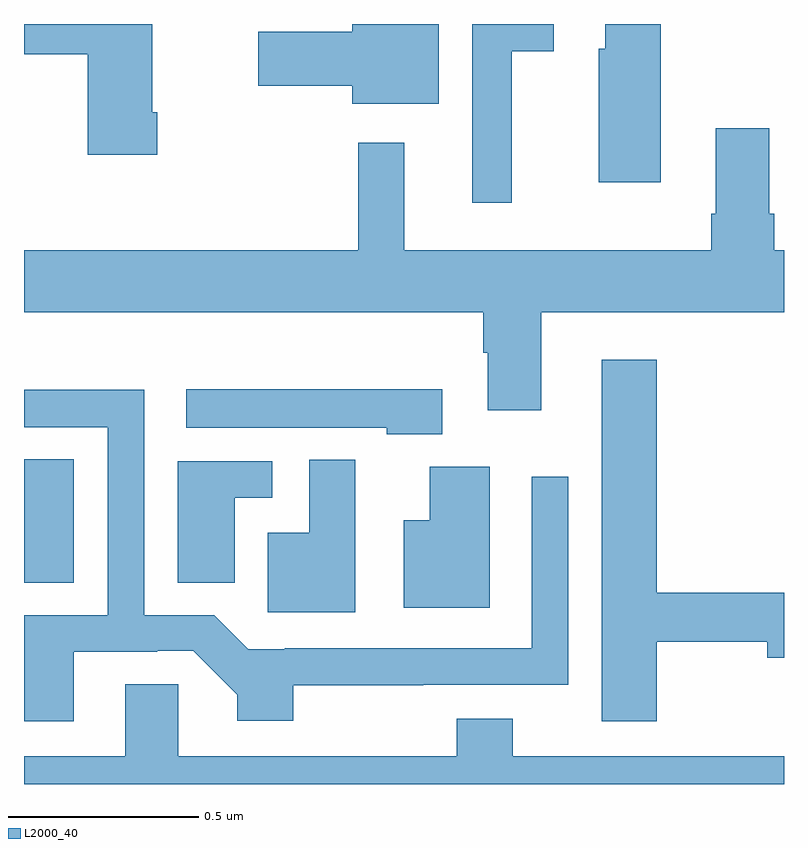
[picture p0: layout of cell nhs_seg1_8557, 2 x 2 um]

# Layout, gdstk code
import gdstk
lib = gdstk.Library(unit=1e-6, precision=1e-09)
def R(c, l, rs):  # rectangles x0, y0, x1, y1
    for r in rs: c.add(gdstk.rectangle(r[:2], r[2:], *l))
def P(c, l, *ps):  # polygons
    for p in ps: c.add(gdstk.Polygon(p, *l))
L2000_40 = (2000, 40)

nhs_seg1_8557 = lib.new_cell('nhs_seg1_8557')
R(nhs_seg1_8557, L2000_40, [(218,509.728,218.131,510.053)])
P(nhs_seg1_8557, L2000_40, [(218.351,510.967),(218.338,510.967),(218.338,511.199),(218,511.199),(218,511.12),(218.168,511.12),(218.168,510.855),(218.351,510.855)],
  [(219.283,511.127),(219.394,511.127),(219.394,511.199),(219.179,511.199),(219.179,510.729),(219.283,510.729)],
  [(219.091,511.199),(218.864,511.199),(218.864,511.178),(218.616,511.178),(218.616,511.036),(218.864,511.036),(218.864,510.989),(219.091,510.989)],
  [(219.676,511.199),(219.53,511.199),(219.53,511.134),(219.512,511.134),(219.512,510.782),(219.676,510.782)],
  [(219.361,510.44),(220,510.44),(220,510.604),(219.974,510.604),(219.974,510.7),(219.961,510.7),(219.961,510.925),(219.821,510.925),(219.821,510.7),(219.809,510.7),(219.809,510.604),(219.001,510.604),(219.001,510.886),(218.88,510.886),(218.88,510.604),(218,510.604),(218,510.44),(219.209,510.44),(219.209,510.334),(219.221,510.334),(219.221,510.183),(219.361,510.183)],
  [(219.665,509.574),(219.956,509.574),(219.956,509.531),(220,509.531),(220,509.702),(219.665,509.702),(219.665,510.316),(219.521,510.316),(219.521,509.364),(219.665,509.364)],
  [(219.1,510.238),(218.427,510.238),(218.427,510.137),(218.955,510.137),(218.955,510.119),(219.1,510.119)],
  [(218.131,509.547),(218.351,509.547),(218.351,509.55),(218.445,509.55),(218.561,509.434),(218.561,509.366),(218.709,509.366),(218.709,509.459),(219.05,509.459),(219.05,509.46),(219.432,509.46),(219.432,510.007),(219.336,510.007),(219.336,509.556),(218.686,509.556),(218.686,509.553),(218.59,509.553),(218.5,509.643),(218.316,509.643),(218.316,510.236),(218,510.236),(218,510.138),(218.22,510.138),(218.22,509.643),(218,509.643),(218,509.364),(218.131,509.364)],
  [(218.872,510.052),(218.75,510.052),(218.75,509.86),(218.642,509.86),(218.642,509.651),(218.872,509.651)],
  [(218.554,509.952),(218.653,509.952),(218.653,510.048),(218.405,510.048),(218.405,509.728),(218.554,509.728)],
  [(219.226,510.034),(219.068,510.034),(219.068,509.893),(218.999,509.893),(218.999,509.663),(219.226,509.663)],
  [(220,509.272),(219.286,509.272),(219.286,509.371),(219.139,509.371),(219.139,509.272),(218.406,509.272),(218.406,509.462),(218.267,509.462),(218.267,509.272),(218,509.272),(218,509.199),(220,509.199)])

lib.write_gds('nhs_seg1_8557.gds')
